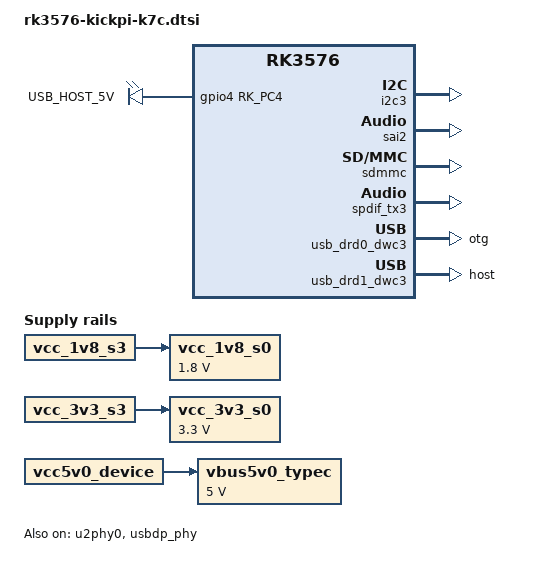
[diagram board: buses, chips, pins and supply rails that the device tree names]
// SPDX-License-Identifier: (GPL-2.0+ OR MIT)
/*
 * Copyright (c) 2024 Rockchip Electronics Co., Ltd.
 *
 */

#include <dt-bindings/usb/pd.h>


#include "rk3576.dtsi"
#include "rk3576-kickpi-evb.dtsi"
#include "rk3576-rk806.dtsi"

#include "rk3576-kickpi-lcd-hdmi.dtsi"

// #include "rk3576-kickpi-lcd-mipi-8-800-1280-MX080B2140.dtsi"
// #include "rk3576-kickpi-lcd-mipi-10.1-800-1280-AT101DS40I.dtsi"
// #include "rk3576-kickpi-lcd-mipi-10.1-800-1280-MX101BA1340.dtsi"
#include "rk3576-kickpi-lcd-mipi-5-720-1280-F050008M01.dtsi"

/* PHASE1: DP / 有线网 / PCIe / 扩展座 / 红外 / 摄像头 暂不启用 */
// #include "rk3576-kickpi-lcd-dp.dtsi"

#include "rk3576-kickpi-k7c-wifi.dtsi"
// #include "rk3576-kickpi-ethernet-gmac0.dtsi"
// #include "rk3576-kickpi-combopyh0-pcie.dtsi"

// #include "rk3576-kickpi-k7c-extend-40pin.dtsi"
// #include "rk3576-kickpi-ir.dtsi"

// #include "rk3576-kickpi-k7c-cam0.dtsi"
// #include "rk3576-kickpi-k7c-cam1.dtsi"
// #include "rk3576-kickpi-k7c-cam3.dtsi"

/ {
	es8388_sound: es8388-sound {
		status = "disabled";
		compatible = "rockchip,multicodecs-card";
		rockchip,card-name = "rockchip-es8388";
		hp-det-gpio = <&gpio0 RK_PD3 GPIO_ACTIVE_HIGH>;
		io-channels = <&saradc 3>;
		io-channel-names = "adc-detect";
		keyup-threshold-microvolt = <1800000>;
		poll-interval = <100>;
		spk-con-gpio = <&gpio2 RK_PB1 GPIO_ACTIVE_HIGH>;
		//hp-con-gpio = <&gpio0 RK_PD3 GPIO_ACTIVE_HIGH>;
		rockchip,pre-power-on-delay-ms = <30>;
		rockchip,post-power-down-delay-ms = <40>;
		rockchip,format = "i2s";
		rockchip,mclk-fs = <256>;
		rockchip,cpu = <&sai1>;
		rockchip,codec = <&es8388>;
		rockchip,audio-routing =
			"Headphone", "LOUT1",
			"Headphone", "ROUT1",
			"Speaker", "LOUT2",
			"Speaker", "ROUT2",
			//"Headphone", "Headphone Power",
			//"Headphone", "Headphone Power",
			"Speaker", "Speaker Power",
			"Speaker", "Speaker Power",
			"LINPUT1", "Main Mic",
			"LINPUT2", "Main Mic",
			"RINPUT1", "Headset Mic",
			"RINPUT2", "Headset Mic";
		pinctrl-names = "default";
		pinctrl-0 = <&hp_det>;
		play-pause-key {
			label = "playpause";
			linux,code = <KEY_PLAYPAUSE>;
			press-threshold-microvolt = <2000>;
		};
	};

	pdmics: dummy-codec {
		status = "disabled";
		compatible = "rockchip,dummy-codec";
		#sound-dai-cells = <0>;
	};

	pdm_mic_array: pdm-mic-array {
		status = "disabled";
		compatible = "simple-audio-card";
		simple-audio-card,name = "rockchip,pdm-mic-array";
		simple-audio-card,cpu {
			sound-dai = <&pdm1>;
		};
		simple-audio-card,codec {
			sound-dai = <&pdmics>;
		};
	};

	vcc_1v8_s0: vcc-1v8-s0 {
		compatible = "regulator-fixed";
		regulator-name = "vcc_1v8_s0";
		regulator-boot-on;
		regulator-always-on;
		regulator-min-microvolt = <1800000>;
		regulator-max-microvolt = <1800000>;
		vin-supply = <&vcc_1v8_s3>;
	};

	vcc_3v3_s0: vcc-3v3-s0 {
		compatible = "regulator-fixed";
		regulator-name = "vcc_3v3_s0";
		regulator-boot-on;
		regulator-always-on;
		regulator-min-microvolt = <3300000>;
		regulator-max-microvolt = <3300000>;
		vin-supply = <&vcc_3v3_s3>;
	};

	// vcc5v0_host: vcc5v0-host {
	// 	compatible = "regulator-fixed";
	// 	regulator-name = "vcc5v0_host";
	// 	regulator-boot-on;
	// 	regulator-always-on;
	// 	regulator-min-microvolt = <5000000>;
	// 	regulator-max-microvolt = <5000000>;
	// 	enable-active-high;
	// 	gpio = <&gpio4 RK_PC4 GPIO_ACTIVE_HIGH>;
	// 	vin-supply = <&vcc5v0_device>;
	// 	pinctrl-names = "default";
	// 	pinctrl-0 = <&usb_host_pwren>;
	// };

	vbus5v0_typec: vbus5v0-typec {
		compatible = "regulator-fixed";
		regulator-name = "vbus5v0_typec";
		regulator-min-microvolt = <5000000>;
		regulator-max-microvolt = <5000000>;
		enable-active-high;
		vin-supply = <&vcc5v0_device>;
	};
};

&i2c3 {
	status = "okay";
	es8388: es8388@10 {
		status = "disabled";
		#sound-dai-cells = <0>;
		compatible = "everest,es8388", "everest,es8323";
		reg = <0x10>;
		clocks = <&mclkout_sai1>;
		clock-names = "mclk";
		assigned-clocks = <&mclkout_sai1>;
		assigned-clock-rates = <12288000>;
		pinctrl-names = "default";
		pinctrl-0 = <&sai1m0_mclk>;
	};
};

&pinctrl {
	headphone {
		hp_det: hp-det {
			rockchip,pins = <0 RK_PD3 RK_FUNC_GPIO &pcfg_pull_none>;
		};
	};

	usb {
		usb_host_pwren: usb-host-pwren {
			rockchip,pins = <4 RK_PC4 RK_FUNC_GPIO &pcfg_pull_none>;
		};
	};
};


&sai1 {
	status = "disabled";
	pinctrl-names = "default";
	pinctrl-0 = <&sai1m0_lrck
		     &sai1m0_sclk
		     &sai1m0_sdi0
		     &sai1m0_sdo0>;
};

&sai2 {
	status = "okay";
	pinctrl-names = "default";
	pinctrl-0 = <&sai2m0_lrck
		     &sai2m0_sclk
		     &sai2m0_sdi
		     &sai2m0_sdo>;
};

&sdmmc {
	pinctrl-0 = <&sdmmc0_clk &sdmmc0_cmd &sdmmc0_det &sdmmc0_bus4 &sdmmc0_pwren>;
	status = "okay";
};

&spdif_tx3 {
	status = "okay";
};

&u2phy0 {
	status = "okay";
};

&u2phy0_otg {
	phy-supply = <&vbus5v0_typec>;
};

&u2phy1_otg {
	// phy-supply = <&vcc5v0_host>;
};

&leds {
	USB_HOST_5V: gpio4-c4 {
        label = "USB_HOST_5V";
		gpios = <&gpio4 RK_PC4 GPIO_ACTIVE_HIGH>;
		default-state = "on";
	};
};

&usbdp_phy {
	rockchip,dp-lane-mux = <2 3>;
	status = "okay";
};

&usb_drd0_dwc3 {
	dr_mode = "otg";
	extcon = <&u2phy0>;
	status = "okay";
};

&usb_drd1_dwc3 {
	dr_mode = "host";
	status = "okay";
};

